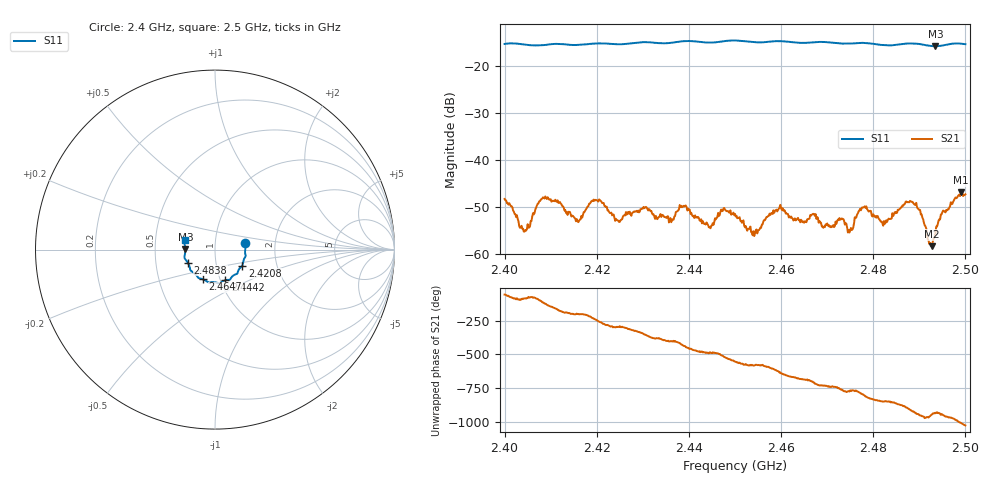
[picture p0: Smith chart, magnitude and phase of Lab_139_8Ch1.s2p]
# Hz S RI R 50
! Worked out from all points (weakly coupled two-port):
!   601 points, 2.4 GHz to 2.5 GHz, reference 50 ohm
!   highest |S21| = -46.93 dB at 2.499 GHz (marker M1); lowest = -58.4 dB at 2.4927 GHz (marker M2)
!   lowest |S11| = -15.7 dB at 2.4935 GHz (marker M3), VSWR 1.39, Z = 35.9 + j0.152 ohm
!   |S11| at or under -10 dB: start of sweep to end of sweep
!   S12 and S22 are empty: the file has one direction only
!   S11 on the Smith chart (normalised r, x): 2.4 GHz: 1.40, +0.11; 2.4208 GHz: 1.33, -0.25; 2.4442 GHz: 1.05, -0.37; 2.4647 GHz: 0.83, -0.28; 2.4838 GHz: 0.73, -0.11; 2.5 GHz: 0.71, +0.08
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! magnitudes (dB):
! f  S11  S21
! 2.4 GHz  -15.2  -48.3
! 2.4043 GHz  -15.3  -55.3
! 2.4085 GHz  -15.4  -48.0
! 2.4167 GHz  -15.3  -51.9
! 2.4208 GHz  -15.1  -48.7
! 2.4245 GHz  -15.2  -52.9
! 2.4333 GHz  -15.0  -52.3
! 2.4388 GHz  -14.6  -49.8
! 2.4442 GHz  -14.9  -53.9
! 2.45 GHz  -14.4  -51.5
! 2.454 GHz  -14.8  -55.2
! 2.4598 GHz  -14.6  -49.6
! 2.4647 GHz  -15.0  -53.3
! 2.4667 GHz  -14.9  -51.7
! 2.475 GHz  -15.1  -54.9
! 2.4833 GHz  -15.5  -52.5
! 2.4838 GHz  -15.5  -52.6
! 2.4888 GHz  -15.1  -49.4
! 2.4927 GHz  -15.6  -58.4
! 2.4935 GHz  -15.7  -55.7
! 2.499 GHz  -15.1  -46.9
! 2.5 GHz  -15.2  -47.3
